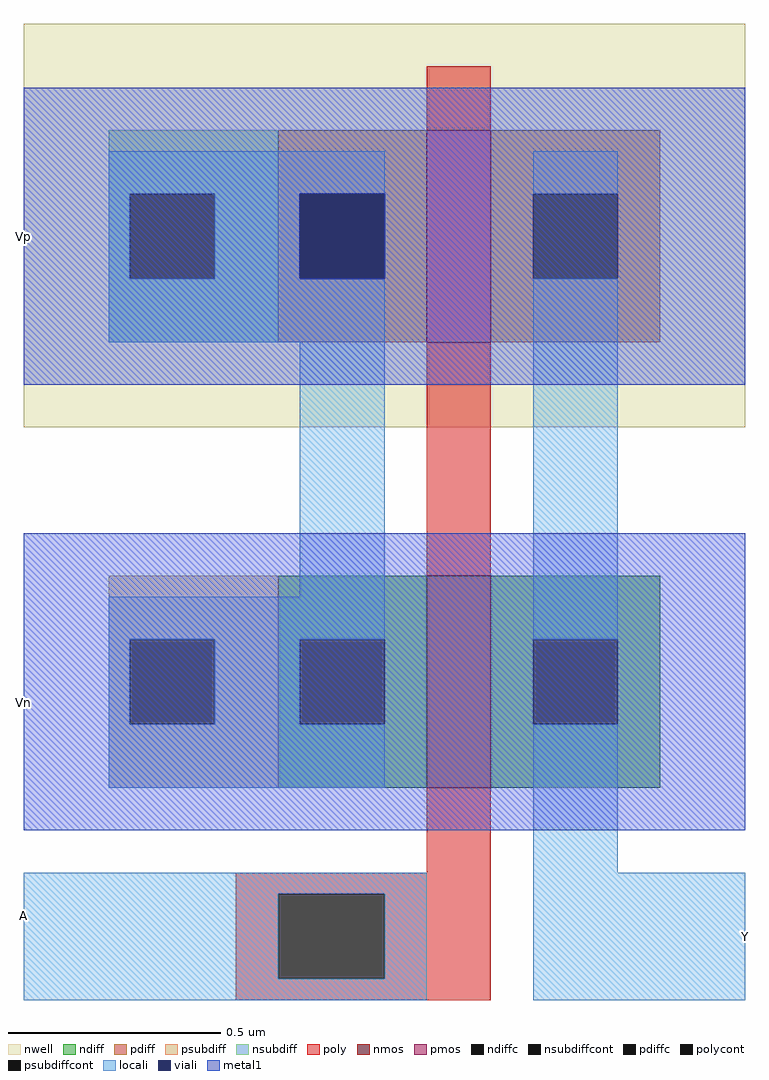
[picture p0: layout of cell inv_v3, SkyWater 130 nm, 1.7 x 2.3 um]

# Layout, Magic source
magic
tech sky130A
<< nwell >>
rect -60 85 110 180
<< nmos >>
rect 35 0 50 50
<< pmos >>
rect 35 105 50 155
<< ndiff >>
rect 0 35 35 50
rect 0 15 5 35
rect 25 15 35 35
rect 0 0 35 15
rect 50 35 90 50
rect 50 15 60 35
rect 80 15 90 35
rect 50 0 90 15
<< pdiff >>
rect 0 140 35 155
rect 0 120 5 140
rect 25 120 35 140
rect 0 105 35 120
rect 50 140 90 155
rect 50 120 60 140
rect 80 120 90 140
rect 50 105 90 120
<< ndiffc >>
rect 5 15 25 35
rect 60 15 80 35
<< pdiffc >>
rect 5 120 25 140
rect 60 120 80 140
<< psubdiff >>
rect -40 35 0 50
rect -40 15 -35 35
rect -15 15 0 35
rect -40 0 0 15
<< nsubdiff >>
rect -40 140 0 155
rect -40 120 -35 140
rect -15 120 0 140
rect -40 105 0 120
<< psubdiffcont >>
rect -35 15 -15 35
<< nsubdiffcont >>
rect -35 120 -15 140
<< poly >>
rect 35 155 50 170
rect 35 50 50 105
rect 35 -20 50 0
rect -10 -25 50 -20
rect -10 -45 0 -25
rect 25 -45 50 -25
rect -10 -50 50 -45
<< polycont >>
rect 0 -45 25 -25
<< locali >>
rect -40 140 25 150
rect -40 120 -35 140
rect -15 120 5 140
rect -40 105 25 120
rect 5 45 25 105
rect -40 35 25 45
rect -40 15 -35 35
rect -15 15 5 35
rect -40 0 25 15
rect 60 140 80 150
rect 60 35 80 120
rect 60 -20 80 15
rect -60 -25 35 -20
rect -60 -45 0 -25
rect 25 -45 35 -25
rect -60 -50 35 -45
rect 60 -50 110 -20
<< viali >>
rect 5 120 25 140
<< metal1 >>
rect -60 140 110 165
rect -60 120 5 140
rect 25 120 110 140
rect -60 95 110 120
rect -60 -10 110 60
<< labels >>
rlabel locali -60 -30 -60 -30 7 A
port 1 w
rlabel locali 110 -35 110 -35 3 Y
port 2 e
rlabel metal1 -60 130 -60 130 7 Vp
port 3 w
rlabel metal1 -60 20 -60 20 7 Vn
port 4 w
<< end >>
